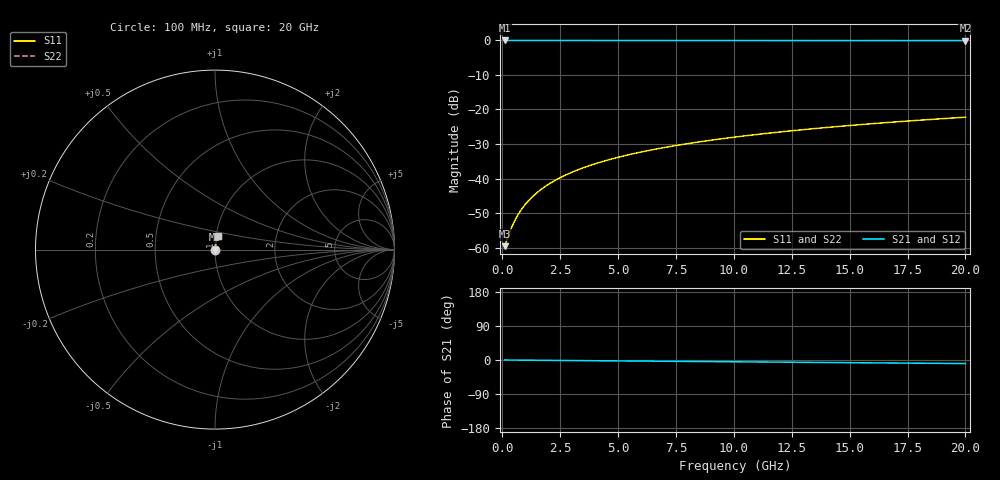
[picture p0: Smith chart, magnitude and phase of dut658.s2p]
! Touchstone file exported from HFSS 2026.1.0
!  File:  C:/ffzhzh/LocalFiles/Ansys_Project_Files/temp_train_TSV_658_1783026838_53980.aedt
!  Generated:  05:17:06 AM Jul  3, 2026
!  Design:  TSV
!  Project:  temp_train_TSV_658_1783026838_53980
! Variables:
!  h_bsmrdl = 2um
!  h_ox = 20um
!  h_rdl = 5um
!  h_sub = 85.46um
!  h_tmrdl = 5um
!  h_tsv = 85.46um
!  h_via = 3um
!  l_bsmrdl = 300um
!  l_sub = 406.46um
!  l_tmrdl = 200um
!  m_sub = 200um
!  pitch = 29.61um
!  r_tsv = 3.23um
!  s_tmrdl = 10um
!  w_bsmrdl = 18um
!  w_sub = 500um
!  w_tmrdl = 12um
!  x_tsv_center1 = 206um
!  x_tsv_center2 = 524um
!  x_tsv_center3 = 736um
!  x_tsv_center4 = 1054um
!  x_tsv_center5 = 1266um
!  x_tsv_center6 = 1584um
# GHz S MA R 50.000000
! Terminal data exported
! Port[1] = TSV1_1_T1
! Port[2] = TSV1_1_T2
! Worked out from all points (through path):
!   200 points, 100 MHz to 20 GHz, reference 50 ohm
!   highest |S21| = -0.01 dB at 100 MHz (marker M1); lowest = -0.1 dB at 20 GHz (marker M2)
!   group delay of S21, straight-line fit = 1.3 ps
!   lowest |S11| = -59.6 dB at 100 MHz (marker M3), VSWR 1.00, Z = 50.1 + j0.0425 ohm
!   |S11| at or under -10 dB: start of sweep to end of sweep
!   |S22| runs from -59.6 to -22.2 dB; largest |S21 - S12| = 4.1e-15
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0.1  0.00105 23.8  0.999 -0.0  0.999 -0.0  0.00105 23.8
! Gamma 0 0 0 0
! Port Impedance 50 0 50 0
0.4  0.001945 59.2  0.999 -0.2  0.999 -0.2  0.001945 59.2
0.5  0.002312 64.1  0.999 -0.2  0.999 -0.2  0.002312 64.1
0.6  0.002689 67.7  0.999 -0.3  0.999 -0.3  0.002689 67.7
0.7  0.003074 70.4  0.999 -0.3  0.999 -0.3  0.003074 70.4
0.9  0.003858 74.1  0.999 -0.4  0.999 -0.4  0.003858 74.1
1.2  0.005054 77.4  0.9989 -0.6  0.9989 -0.6  0.005054 77.4
1.4  0.005858 78.8  0.9989 -0.7  0.9989 -0.7  0.005858 78.8
1.7  0.007068 80.3  0.9989 -0.8  0.9989 -0.8  0.007068 80.3
2.2  0.00909 81.7  0.9988 -1.1  0.9988 -1.1  0.00909 81.7
2.8  0.01151 82.6  0.9987 -1.3  0.9987 -1.3  0.01151 82.6
3.5  0.01433 83.1  0.9986 -1.7  0.9986 -1.7  0.01433 83.1
4.2  0.01713 83.2  0.9984 -2.0  0.9984 -2.0  0.01713 83.2
5  0.02031 83.2  0.9982 -2.4  0.9982 -2.4  0.02031 83.2
5.9  0.02386 83.1  0.998 -2.8  0.998 -2.8  0.02386 83.1
6.8  0.02738 82.9  0.9978 -3.2  0.9978 -3.2  0.02738 82.9
8.3  0.03319 82.4  0.9974 -3.9  0.9974 -3.9  0.03319 82.4
10.1  0.0401 81.8  0.9968 -4.8  0.9968 -4.8  0.0401 81.8
11.7  0.04619 81.3  0.9964 -5.5  0.9964 -5.5  0.04619 81.3
13.4  0.05263 80.7  0.9959 -6.3  0.9959 -6.3  0.05263 80.7
16.7  0.06505 79.4  0.9948 -7.9  0.9948 -7.9  0.06505 79.4
20  0.07736 78.1  0.9936 -9.4  0.9936 -9.4  0.07736 78.1
